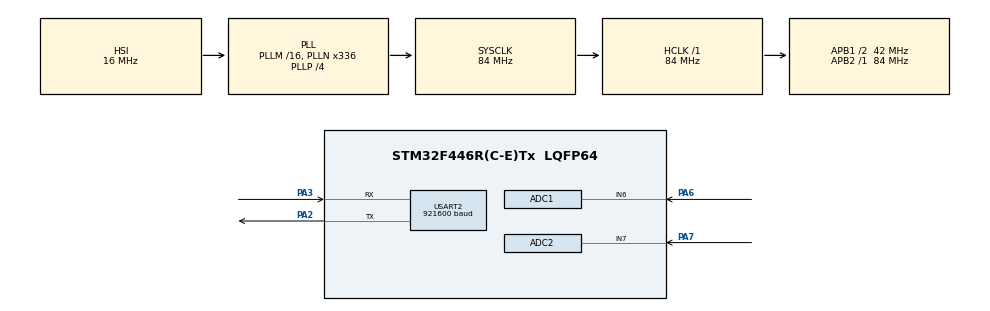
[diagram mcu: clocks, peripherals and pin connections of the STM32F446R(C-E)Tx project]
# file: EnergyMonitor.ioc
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ADC1.AutoInjectedConv=DISABLE
ADC1.Channel-0\#ChannelRegularConversion=ADC_CHANNEL_6
ADC1.ClockPrescaler=ADC_CLOCK_SYNC_PCLK_DIV4
ADC1.ContinuousConvMode=DISABLE
ADC1.DMAContinuousRequests=ENABLE
ADC1.DataAlign=ADC_DATAALIGN_RIGHT
ADC1.DiscontinuousConvMode=DISABLE
ADC1.EOCSelection=ADC_EOC_SEQ_CONV
ADC1.EnableAnalogWatchDog=false
ADC1.ExternalTrigConv=ADC_EXTERNALTRIGCONV_T8_TRGO
ADC1.ExternalTrigConvEdge=ADC_EXTERNALTRIGCONVEDGE_RISING
ADC1.InjectedDiscontinuousConvMode=DISABLE
ADC1.Mode=ADC_DUALMODE_REGSIMULT
ADC1.NbrOfConversion=1
ADC1.NbrOfConversionFlag=1
ADC1.Rank-0\#ChannelRegularConversion=1
ADC1.Resolution=ADC_RESOLUTION_12B
ADC1.SamplingTime-0\#ChannelRegularConversion=ADC_SAMPLETIME_3CYCLES
ADC1.ScanConvMode=DISABLE
ADC1.master=1
ADC2.AutoInjectedConv=DISABLE
ADC2.Channel-0\#ChannelRegularConversion=ADC_CHANNEL_7
ADC2.ClockPrescaler=ADC_CLOCK_SYNC_PCLK_DIV4
ADC2.ContinuousConvMode=DISABLE
ADC2.DMAContinuousRequests=ENABLE
ADC2.DataAlign=ADC_DATAALIGN_RIGHT
ADC2.DiscontinuousConvMode=DISABLE
ADC2.EOCSelection=ADC_EOC_SEQ_CONV
ADC2.EnableAnalogWatchDog=false
ADC2.InjectedDiscontinuousConvMode=DISABLE
ADC2.Mode=ADC_DUALMODE_REGSIMULT
ADC2.NbrOfConversion=1
ADC2.NbrOfConversionFlag=1
ADC2.Rank-0\#ChannelRegularConversion=1
ADC2.Resolution=ADC_RESOLUTION_12B
ADC2.SamplingTime-0\#ChannelRegularConversion=ADC_SAMPLETIME_3CYCLES
ADC2.ScanConvMode=DISABLE
Dma.ADC1.2.Direction=DMA_PERIPH_TO_MEMORY
Dma.ADC1.2.FIFOMode=DMA_FIFOMODE_ENABLE
Dma.ADC1.2.FIFOThreshold=DMA_FIFO_THRESHOLD_FULL
Dma.ADC1.2.Instance=DMA2_Stream0
Dma.ADC1.2.MemBurst=DMA_MBURST_SINGLE
Dma.ADC1.2.MemDataAlignment=DMA_MDATAALIGN_WORD
Dma.ADC1.2.MemInc=DMA_MINC_ENABLE
Dma.ADC1.2.Mode=DMA_CIRCULAR
Dma.ADC1.2.PeriphBurst=DMA_PBURST_SINGLE
Dma.ADC1.2.PeriphDataAlignment=DMA_PDATAALIGN_WORD
Dma.ADC1.2.PeriphInc=DMA_PINC_DISABLE
Dma.ADC1.2.Priority=DMA_PRIORITY_HIGH
Dma.ADC2.3.Direction=DMA_PERIPH_TO_MEMORY
Dma.ADC2.3.FIFOMode=DMA_FIFOMODE_ENABLE
Dma.ADC2.3.FIFOThreshold=DMA_FIFO_THRESHOLD_FULL
Dma.ADC2.3.Instance=DMA2_Stream2
Dma.ADC2.3.MemBurst=DMA_MBURST_SINGLE
Dma.ADC2.3.MemDataAlignment=DMA_MDATAALIGN_WORD
Dma.ADC2.3.MemInc=DMA_MINC_ENABLE
Dma.ADC2.3.Mode=DMA_CIRCULAR
Dma.ADC2.3.PeriphBurst=DMA_PBURST_SINGLE
Dma.ADC2.3.PeriphDataAlignment=DMA_PDATAALIGN_WORD
Dma.ADC2.3.PeriphInc=DMA_PINC_DISABLE
Dma.ADC2.3.Priority=DMA_PRIORITY_HIGH
Dma.MEMTOMEM.0.Direction=DMA_MEMORY_TO_MEMORY
Dma.MEMTOMEM.0.FIFOMode=DMA_FIFOMODE_ENABLE
Dma.MEMTOMEM.0.FIFOThreshold=DMA_FIFO_THRESHOLD_FULL
Dma.MEMTOMEM.0.Instance=DMA2_Stream1
Dma.MEMTOMEM.0.MemBurst=DMA_MBURST_SINGLE
Dma.MEMTOMEM.0.MemDataAlignment=DMA_MDATAALIGN_WORD
Dma.MEMTOMEM.0.MemInc=DMA_MINC_ENABLE
Dma.MEMTOMEM.0.Mode=DMA_NORMAL
Dma.MEMTOMEM.0.PeriphBurst=DMA_PBURST_SINGLE
Dma.MEMTOMEM.0.PeriphDataAlignment=DMA_PDATAALIGN_WORD
Dma.MEMTOMEM.0.PeriphInc=DMA_PINC_ENABLE
Dma.MEMTOMEM.0.Priority=DMA_PRIORITY_MEDIUM
Dma.MEMTOMEM.1.Direction=DMA_MEMORY_TO_MEMORY
Dma.MEMTOMEM.1.FIFOMode=DMA_FIFOMODE_ENABLE
Dma.MEMTOMEM.1.FIFOThreshold=DMA_FIFO_THRESHOLD_FULL
Dma.MEMTOMEM.1.Instance=DMA2_Stream3
Dma.MEMTOMEM.1.MemBurst=DMA_MBURST_SINGLE
Dma.MEMTOMEM.1.MemDataAlignment=DMA_MDATAALIGN_WORD
Dma.MEMTOMEM.1.MemInc=DMA_MINC_ENABLE
Dma.MEMTOMEM.1.Mode=DMA_NORMAL
Dma.MEMTOMEM.1.PeriphBurst=DMA_PBURST_SINGLE
Dma.MEMTOMEM.1.PeriphDataAlignment=DMA_PDATAALIGN_WORD
Dma.MEMTOMEM.1.PeriphInc=DMA_PINC_ENABLE
Dma.MEMTOMEM.1.Priority=DMA_PRIORITY_MEDIUM
Dma.Request0=MEMTOMEM
Dma.Request1=MEMTOMEM
Dma.Request2=ADC1
Dma.Request3=ADC2
Mcu.Family=STM32F4
Mcu.Name=STM32F446R(C-E)Tx
Mcu.Package=LQFP64
NVIC.ADC_IRQn=true\:0\:0\:false\:false\:true
NVIC.DMA2_Stream0_IRQn=true\:0\:0\:false\:false\:true
NVIC.DMA2_Stream1_IRQn=true\:0\:0\:false\:false\:true
NVIC.DMA2_Stream2_IRQn=true\:0\:0\:false\:false\:true
NVIC.DMA2_Stream3_IRQn=true\:0\:0\:false\:false\:true
NVIC.PriorityGroup=NVIC_PRIORITYGROUP_0
NVIC.USART2_IRQn=true\:0\:0\:false\:false\:true
PA2.Mode=Asynchronous
PA2.Signal=USART2_TX
PA3.Mode=Asynchronous
PA3.Signal=USART2_RX
PA6.Signal=ADCx_IN6
PA7.Signal=ADCx_IN7
ProjectManager.HeapSize=0x200
ProjectManager.StackSize=0x400
ProjectManager.TargetToolchain=SW4STM32
RCC.AHBFreq_Value=84000000
RCC.APB1CLKDivider=RCC_HCLK_DIV2
RCC.APB1Freq_Value=42000000
RCC.APB1TimFreq_Value=84000000
RCC.APB2Freq_Value=84000000
RCC.APB2TimFreq_Value=84000000
RCC.CECEnable=false
RCC.ClockTypeHCLK=RCC_CLOCKTYPE_HCLK
RCC.ClockTypePCLK1=RCC_CLOCKTYPE_PCLK1
RCC.ClockTypePCLK2=RCC_CLOCKTYPE_PCLK2
RCC.ClockTypeSysClk=RCC_CLOCKTYPE_SYSCLK
RCC.CortexFreq_Value=84000000
RCC.EnableFMPI2C1=false
RCC.EnableHSE=false
RCC.EnableHSERTCDevisor=false
RCC.EnableI2S1=false
RCC.EnableI2S2=false
RCC.EnableLSE=false
RCC.EnableLSERTC=false
RCC.EnableSAIA=false
RCC.EnableSAIB=false
RCC.EnableSDIO=false
RCC.EnableSPDIF=false
RCC.EnableUSB=false
RCC.EnbaleCSS=false
RCC.ExtClockEnable=false
RCC.FLatency-AdvancedSettings=FLASH_LATENCY_2
RCC.HCLKFreq_Value=84000000
RCC.HSEState=RCC_HSE_OFF
RCC.HSE_VALUE=8000000
RCC.HSIState=RCC_HSI_ON
RCC.HSI_VALUE=16000000
RCC.IWDGEnable=false
RCC.LSE_VALUE=32768
RCC.LSIState=RCC_LSI_OFF
RCC.MCO1OutPutEnable=false
RCC.MCO2OutPutEnable=false
RCC.OscillatorTypeHSI=RCC_OSCILLATORTYPE_HSI
RCC.PLLN=336
RCC.PLLP=RCC_PLLP_DIV4
RCC.PLLSource=RCC_PLLSOURCE_HSI
RCC.PLLSourceVirtual=RCC_PLLSOURCE_HSI
RCC.PLLState=RCC_PLL_ON
RCC.RCC_RTC_Clock_Source=RCC_RTCCLKSOURCE_LSI
RCC.RCC_RTC_Clock_SourceVirtual=RCC_RTCCLKSOURCE_LSI
RCC.RTCEnable=false
RCC.SYSCLKFreq_VALUE=84000000
RCC.SYSCLKSource=RCC_SYSCLKSOURCE_PLLCLK
RCC.USBFreq_Value=168000000
RCC.VCOOutputFreq_Value=336000000
SH.ADCx_IN6.0=ADC1_IN6,IN6
SH.ADCx_IN7.0=ADC2_IN7,IN7
TIM8.Period=7000
TIM8.TIM_MasterOutputTrigger=TIM_TRGO_UPDATE
USART2.BaudRate=921600
USART2.HwFlowCtl-Asynchronous=UART_HWCONTROL_NONE
USART2.VirtualMode=VM_ASYNC
VP_TIM8_VS_ClockSourceINT.Mode=Internal
board=NUCLEO-F446RE

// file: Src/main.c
/*
  ******************************************************************************
  * File Name          : main.c
  * Description        : Main program body
  ******************************************************************************
  *
  * COPYRIGHT(c) 2017 STMicroelectronics
  *
  * Redistribution and use in source and binary forms, with or without modification,
  * are permitted provided that the following conditions are met:
  *   1. Redistributions of source code must retain the above copyright notice,
  *      this list of conditions and the following disclaimer.
  *   2. Redistributions in binary form must reproduce the above copyright notice,
  *      this list of conditions and the following disclaimer in the documentation
  *      and/or other materials provided with the distribution.
  *   3. Neither the name of STMicroelectronics nor the names of its contributors
  *      may be used to endorse or promote products derived from this software
  *      without specific prior written permission.
  *
  * THIS SOFTWARE IS PROVIDED BY THE COPYRIGHT HOLDERS AND CONTRIBUTORS "AS IS"
  * AND ANY EXPRESS OR IMPLIED WARRANTIES, INCLUDING, BUT NOT LIMITED TO, THE
  * IMPLIED WARRANTIES OF MERCHANTABILITY AND FITNESS FOR A PARTICULAR PURPOSE ARE
  * DISCLAIMED. IN NO EVENT SHALL THE COPYRIGHT HOLDER OR CONTRIBUTORS BE LIABLE
  * FOR ANY DIRECT, INDIRECT, INCIDENTAL, SPECIAL, EXEMPLARY, OR CONSEQUENTIAL
  * DAMAGES (INCLUDING, BUT NOT LIMITED TO, PROCUREMENT OF SUBSTITUTE GOODS OR
  * SERVICES; LOSS OF USE, DATA, OR PROFITS; OR BUSINESS INTERRUPTION) HOWEVER
  * CAUSED AND ON ANY THEORY OF LIABILITY, WHETHER IN CONTRACT, STRICT LIABILITY,
  * OR TORT (INCLUDING NEGLIGENCE OR OTHERWISE) ARISING IN ANY WAY OUT OF THE USE
  * OF THIS SOFTWARE, EVEN IF ADVISED OF THE POSSIBILITY OF SUCH DAMAGE.
  *
  ******************************************************************************
  */
  /**
  *	@file main.c
  * @author André, Bruno, Gustado e Leonador
  * @brief Aplicação: Sistema de Monitoramento de Consumo de Energia.
  *
  */
#include "main.h"
#include "stm32f4xx_hal.h"
#include "adc.h"
#include "dma.h"
#include "tim.h"
#include "usart.h"
#include "gpio.h"

/* USER CODE BEGIN Includes */
/* Include bibliotecas do projeto */
#include "defines.h"
#include "arm_math.h"
#include "dizimacao.h"
#include "adc_util.h"
#include "equipamentos.h"
#include "calculos_eletricos.h"
#include "usart_util.h"
/* USER CODE END Includes */

/* USER CODE BEGIN PV */
/* Private variables ---------------------------------------------------------*/
/* Variavel de estado da FSM */
/**
  * @brief  Estados da máquina de estados da aplicação.
  */
enum FSM {START, AQUISICAO, PROCESSAMENTO, RMS_CORRENTE, CALCULOS, DELTA, ID, ENVIAR}
estado = START;
/* Historico de medicoes e indexador*/
/**
  * @brief  Vetor de #Medicao . Contém histórico de medições.
  */
Medicao memoria[MEM_SIZE];
/**
  * @brief  Índice do histórico de medições.
  */
uint32_t memoria_index = 0;
/* Base de dados de equipamentos */
/**
  * @brief  Base de dados de #Equipamento .
  */
Equipamento BaseDados[EQUIP_ARRAY_MAX];
/* Buffers usados ao longo do processamento */
/**
  * @brief  Buffer circular de leitura de tensão. Interrupções ocorrem quando está na metade ou cheio.
  */
uint32_t buffer_tensao_DMA[2*BUFFER_SIZE];
/**
  * @brief  Buffer circular de leitura de corrente. Interrupções ocorrem quando está na metade ou cheio.
  */
uint32_t buffer_corrente_DMA[2*BUFFER_SIZE];
/**
  * @brief  Buffer auxiliar de leitura de tensão.
  */
uint32_t buffer_tensao_leitura[BUFFER_SIZE];
/**
  * @brief  Buffer auxiliar de leitura de corrente.
  */
uint32_t buffer_corrente_leitura[BUFFER_SIZE];
/**
  * @brief  Buffer auxiliar de leitura de tensão em ponto flutuante.
  */
float32_t buffer_corrente_float[BUFFER_SIZE];
/**
  * @brief  Buffer auxiliar de leitura de corrente em ponto flutuante.
  */
float32_t buffer_tensao_float[BUFFER_SIZE];
/**
  * @brief  Buffer auxiliar de leitura de tensão em ponto flutuante dizimado.
  */
float32_t buffer_tensao_diz[BUFFER_DIZ];
/**
  * @brief  Buffer auxiliar de leitura de corrente em ponto flutuante dizimado.
  */
float32_t buffer_corrente_diz[BUFFER_DIZ];
/* Flags de controle */
/**
  * @brief  Variável de testes.
  */
uint32_t count = 0;
/**
  * @brief  Variável de testes.
  */
uint32_t tic, toc;
/**
  * @brief  Flag de controle. Ativada quando ocorre interrupção de buffer cheio.
  */
uint8_t flag_buffercheio = 0;
/**
  * @brief  Flag de controle. Ativada quando ocorre interrupção de buffer na metade.
  */
uint8_t flag_buffermetade = 0;
/**
  * @brief  Flag de testes.
  */
uint8_t flag_aquisicao = 0;
/* Filtro FIR + dizimacao */
/**
  * @brief  Estrutura da biblioteca CMSIS para realização da dizimação.
  */
arm_fir_decimate_instance_f32 S;
/* USER CODE END PV */

/**
  * @brief  Configuração de clock.
  */
void SystemClock_Config(void);
void Error_Handler(void);

/* USER CODE BEGIN PFP */
/* Private function prototypes -----------------------------------------------*/
/* Callbacks das interrupcoes do ADC-DMA */
/**
  * @brief  Callback da interrupção de transferência completa da DMA.
  * @param	hadc: Handler para ADC.
  */
void HAL_ADC_ConvCpltCallback(ADC_HandleTypeDef *);
/**
  * @brief  Callback da interrupção de transferência na metade da DMA.
  * @param	hadc: Handler para ADC.
  */
void HAL_ADC_ConvHalfCpltCallback(ADC_HandleTypeDef *);
/* USER CODE END PFP */

/**
  * @brief  Main da aplicação.
  *
  *	Implementa a máquina de estados descrita no relatório 3.
  *
  */
int main(void)
{

  /* USER CODE BEGIN 1 */
  /* Variaveis locais */
	float32_t corrente_RMS = 0;
	float32_t corrente_RMS_anterior = 0;
	uint32_t i = 0;
	uint32_t timestamp = 0;
	uint32_t timestamp_anterior = 0;
	float32_t energia = 0;
	Parametros param_aux, param_delta;
	int32_t float_inteiro;
	int32_t float_fracao;
	char new_equip;
	int add_new_equip;
  /* USER CODE END 1 */

  /* MCU Configuration----------------------------------------------------------*/

  /* Reset of all peripherals, Initializes the Flash interface and the Systick. */
  HAL_Init();

  /* Configure the system clock */
  SystemClock_Config();

  /* Initialize all configured peripherals */
  MX_GPIO_Init();
  MX_DMA_Init();
  MX_ADC1_Init();
  MX_ADC2_Init();
  MX_USART2_UART_Init();
  MX_TIM8_Init();

  /* USER CODE BEGIN 2 */

  /* Inicializar memoria com zeros */
  for (i=0; i<MEM_SIZE; i++)
  {
	  InitMedicao(&(memoria[i]));
  }
  /* Inicializar Base de Dados */
  InitBaseDeDados(BaseDados);

  print("%d\n\r",BaseDados[1].ID);
  print("%d\n\r",BaseDados[2].ID);
  print("%d\n\r",BaseDados[3].ID);
  print("%d\n\r",BaseDados[4].ID);
  print("%d\n\r",BaseDados[5].ID);
  print("%d\n\r",BaseDados[6].ID);
  print("%d\n\r",BaseDados[7].ID);
  print("%d\n\r",BaseDados[8].ID);

  /* Inicializar filtro FIR */
  initializeFIR(&S);
  /* Inicializar Timer 8 */
  HAL_TIM_Base_Start(&htim8);
  /* Inicializar ADCs */
  HAL_ADC_Start(&hadc2);
  HAL_ADC_Start_DMA(&hadc1, buffer_tensao_DMA, 2*BUFFER_SIZE);
  HAL_ADC_Start_DMA(&hadc2, buffer_corrente_DMA, 2*BUFFER_SIZE);

  /* USER CODE END 2 */

  /* Infinite loop */
  while (1)
  {

  /* USER CODE BEGIN 3 */
	  switch(estado){
	  case START:
		  /*
		   * Estado: START
		   * Descricao: Estado inicial da FSM
		   * Proximo estado: AQUISICAO
		   * Transicao: sempre
		   */
		  estado = AQUISICAO;
		  break;

	  case AQUISICAO:
		  /*
		   * Estado: AQUISICAO
		   * Descricao: Espera pela aquisicao de dados pelo ADC
		   * Proximo estado: PROCESSAMENTO
		   * Transicao: transferencia do buffer do ADC iniciada
		   */

		  /* Manter estado em AQUISICAO*/
		  estado = AQUISICAO;

		  if (flag_buffercheio == 1){
			  /* Timestamp da medicao */
			  timestamp_anterior = timestamp;
			  timestamp = HAL_GetTick();

			  /* Transferir dados do buffer da DMA para buffer de leitura e esperar transferencia*/
			  HAL_DMA_Start(&hdma_memtomem_dma2_stream3, (uint32_t) (buffer_corrente_DMA+BUFFER_SIZE), (uint32_t) buffer_corrente_leitura,BUFFER_SIZE);
			  HAL_DMA_Start(&hdma_memtomem_dma2_stream1, (uint32_t) (buffer_tensao_DMA+BUFFER_SIZE), (uint32_t) buffer_tensao_leitura,BUFFER_SIZE);
			  /* Setar flag */
			  estado = PROCESSAMENTO;
		  }

		  if (flag_buffermetade == 1){
			  /* Timestamp da medicao */
			  timestamp_anterior = timestamp;
			  timestamp = HAL_GetTick();

			  /* Transferir dados do buffer da DMA para buffer de leitura e esperar transferencia*/
			  HAL_DMA_Start(&hdma_memtomem_dma2_stream3, (uint32_t) buffer_corrente_DMA, (uint32_t) buffer_corrente_leitura, BUFFER_SIZE);
			  HAL_DMA_Start(&hdma_memtomem_dma2_stream1, (uint32_t) buffer_tensao_DMA, (uint32_t) buffer_tensao_leitura, BUFFER_SIZE);
			  /* Setar flag */
			  estado = PROCESSAMENTO;
		  }
		  break;

	  case PROCESSAMENTO:
		  /*
		   * Estado: PROCESSAMENTO
		   * Descricao: Transforma leitura do ADC em valores do mundo real e dizima sinal
		   * Proximo estado: RMS_CORRENTE
		   * Transicao: Conversão completa
		   */

		  HAL_DMA_PollForTransfer(&hdma_memtomem_dma2_stream3, HAL_DMA_FULL_TRANSFER, HAL_MAX_DELAY);
		  /* Converter valor do ADC 0-4095 para float32_t */
		  ADCConvertBuffer(buffer_corrente_leitura, buffer_corrente_float, BUFFER_SIZE, CORRENTE_A, CORRENTE_B);
		  /* Filtro FIR  e Dizimacao da corrente*/
		  initializeFIR(&S);
		  arm_fir_decimate_f32(&S, buffer_corrente_float, buffer_corrente_diz, BUFFER_SIZE);

		  HAL_DMA_PollForTransfer(&hdma_memtomem_dma2_stream1, HAL_DMA_FULL_TRANSFER, HAL_MAX_DELAY);

		  /* Converter valor do ADC 0-4095 para float32_t */
		  ADCConvertBuffer(buffer_tensao_leitura, buffer_tensao_float, BUFFER_SIZE, TENSAO_A, TENSAO_B);
		  /* Filtro FIR e Dizimacao da tensao */
		  initializeFIR(&S);
		  arm_fir_decimate_f32(&S, buffer_tensao_float, buffer_tensao_diz, BUFFER_SIZE);

		  estado = RMS_CORRENTE;

		  // enviar valor pela UART - DEBUG
		  for(i=0; i<BUFFER_SIZE; i++)
		  {
			  // print valor leitura adc
			  /*USART2_Transmit_UInt(buffer_tensao_leitura[i]);
			  USART2_Transmit_Char(',');
			  USART2_Transmit_UInt(buffer_corrente_leitura[i]);
			  USART2_Transmit_String("\n\r");*/

			  // print valor real antes de dizimacao (mA e V)
			  float_inteiro = (int32_t) (1000*buffer_corrente_float[i]);
			  USART2_Transmit_Int(float_inteiro);
			  //float_fracao = abs((int32_t)(buffer_corrente_float[i]*1000)%1000);
			  //USART2_Transmit_Char('.');
			  //USART2_Transmit_Int(float_fracao);
			  USART2_Transmit_Char(',');
			  float_inteiro = (int32_t) (buffer_tensao_float[i]);
			  USART2_Transmit_Int(float_inteiro);
			  float_fracao = abs((int32_t)(buffer_tensao_float[i]*1000)%1000);
			  USART2_Transmit_Char('.');
			  USART2_Transmit_UInt(float_fracao);
			  USART2_Transmit_String("\n\r");
		  }

		  for(i=0; i<BUFFER_DIZ; i++)
		  {

			  // print valor real depois da dizimacao (mA e V)
			  /*float_inteiro = (int32_t) (1000*buffer_corrente_diz[i]);
			  USART2_Transmit_Int(float_inteiro);
			  //float_fracao = abs((int32_t)(buffer_corrente_diz[i]*1000)%1000);
			  //USART2_Trans 	mit_Char('.');
			  //USART2_Transmit_Int(float_fracao);
			  USART2_Transmit_Char(',');
			  float_inteiro = (int32_t) (buffer_tensao_diz[i]);
			  USART2_Transmit_Int(float_inteiro);
			  float_fracao = abs((int32_t)(buffer_tensao_diz[i]*1000)%1000);
			  USART2_Transmit_Char('.');
			  USART2_Transmit_UInt(float_fracao);
			  USART2_Transmit_String("\n\r");*/
		  }
		  HAL_Delay(100);
		  break;

	  case RMS_CORRENTE:
		  /*
		   * Estado: RMS_CORRENTE
		   * Descricao: Medir valor RMS da corrente e verificar se houve alguma alteracao
		   * Proximo estado: AQUISICAO
		   * Transicao: Valor RMS da corrente e proximo a ultima medicao
		   * Proximo estado: CALCULOS
		   * Transicao: Valor RMS da corrente esta fora da faixa da ultima medicao
		   */

		  /* Calcular RMS da corrente sobre a aquisicao */
		  corrente_RMS = retornaRMS(GI, buffer_corrente_diz, BUFFER_DIZ, N_START);

		  // print valor RMS lido
		  //float_inteiro = (int32_t) (1000*corrente_RMS);
		  //print("RMS Lido: %d\n\r", float_inteiro);

		  /* Ler ultimo valor de RMS do historico*/
		  corrente_RMS_anterior = memoria[memoria_index%MEM_SIZE].med.i_rms;

		  energia = energia + memoria[memoria_index%MEM_SIZE].med.v_rms*corrente_RMS*memoria[memoria_index%MEM_SIZE].med.pf*((float32_t)(timestamp-timestamp_anterior))*MS2H;

		  //print valor RMS lido
		  //float_inteiro = (int32_t) (1000*corrente_RMS_anterior);
		  //print("RMS Anterior: %d\n\r", float_inteiro);

		  /* Verificar se novo valor de RMS esta dentro ou fora de uma faixa */
		  if ((corrente_RMS < (RMS_LOWERBOUND*corrente_RMS_anterior)) || (corrente_RMS > (RMS_UPPERBOUND*corrente_RMS_anterior))) {
			  estado = CALCULOS;
			  // print valor RMS lido
			  //float_inteiro = (int32_t) (1000*corrente_RMS);
			  //print("RMS Lido: %d\n\r", float_inteiro);
			  //print("Proximo estado: CALCULOS\n\r");
		  }
		  else {
			  estado = AQUISICAO;
			  //print("Proximo estado: AQUISICAO\n\r");
		  }
		  break;

	  case CALCULOS:
		  /*
		   * Estado: CALCULOS
		   * Descricao: Realiza calculos de potencia e harmonicas do intervalor
		   * Proximo estado: DELTA
		   * Transicao: Calculos completos
		   */
		  /* Calcular parametros eletricos obtidos*/

		  param_aux.i_rms = corrente_RMS;
		  float_inteiro = (int32_t) (1000*param_aux.i_rms);
		  //print("I RMS: %d\n\r", float_inteiro);
		  param_aux.v_rms = retornaRMS(GI, buffer_tensao_diz, BUFFER_DIZ, N_START);
		  float_inteiro = (int32_t) (param_aux.v_rms);
		  //print("V RMS: %d\n\r", float_inteiro);
		  param_aux.pot_at = retornaPOTATIVA(GV, GI, buffer_tensao_diz, buffer_corrente_diz, BUFFER_DIZ, N_START);
		  float_inteiro = (int32_t) (param_aux.pot_at);
		  //print("Potencia Ativa: %d\n\r", float_inteiro);
		  param_aux.pot_ap = retornaPOTAPARENTE(GV, GI, param_aux.v_rms, param_aux.i_rms);
		  float_inteiro = (int32_t) (param_aux.pot_ap);
		  //print("Potencia Aparente: %d\n\r", float_inteiro);
		  param_aux.pot_re = retornaPOTREATIVA(param_aux.pot_ap, param_aux.pot_at);
		  float_inteiro = (int32_t) (param_aux.pot_re);
		  //print("Potencia Reativa: %d\n\r", float_inteiro);
		  param_aux.pf = retornaFP(param_aux.pot_ap, param_aux.pot_at);
		  float_inteiro = (int32_t) (1000*param_aux.pf);
		  //print("Fator de Potencia: %d\n\r", float_inteiro);
		  param_aux.harmonicos_RMS[0]=1;
		  retornaRMSHARMONICOS(param_aux.harmonicos_RMS, buffer_corrente_diz, BUFFER_DIZ, MAX_HARMONICA, GI, N_PERIODOS, N_START);
		  for(i=0; i<MAX_HARMONICA; i++)
		  {
			  //print("Harmonica %d: %d\n\r",i,(int32_t)(1000*param_aux.harmonicos_RMS[i]));
		  }
		  param_aux.thd = retornaTHD(param_aux.harmonicos_RMS);
		  float_inteiro = (int32_t) (1000*param_aux.thd);
		  //print("THD: %d\n\r", float_inteiro);
		  float_inteiro = (int32_t) (1000000*energia);
		  //print("Energia Total: %d\n\r\r", float_inteiro);

		  estado = DELTA;
		  break;

	  case DELTA:
		  /*
		   * Estado: DELTA
		   * Descricao: Compara resultado dos calculos obtidos com os da ultima medicao
		   * Proximo estado: ID
		   * Transicao: Delta obtido
		   */
		  /* Obter delta entre medicao atual e medicao anterior */
		  DeltaParam(&param_aux, &(memoria[memoria_index%MEM_SIZE]), &param_delta, &new_equip);

		  /*float_inteiro = (int32_t) (1000*param_delta.i_rms);
		  print("I RMS: %d\n\r", float_inteiro);
		  float_inteiro = (int32_t) (param_delta.v_rms);
		  print("V RMS: %d\n\r", float_inteiro);
		  float_inteiro = (int32_t) (param_delta.pot_at);
		  print("Potencia Ativa: %d\n\r", float_inteiro);
		  float_inteiro = (int32_t) (param_delta.pot_ap);
		  print("Potencia Aparente: %d\n\r", float_inteiro);
		  float_inteiro = (int32_t) (param_delta.pot_re);
		  print("Potencia Reativa: %d\n\r", float_inteiro);
		  float_inteiro = (int32_t) (1000*param_delta.pf);
		  print("Fator de Potencia: %d\n\r", float_inteiro);
		  for(i=0; i<MAX_HARMONICA; i++)
		  {
			  print("Harmonica %d: %d\n\r",i,(int32_t)(1000*param_delta.harmonicos_RMS[i]));
		  }
		  float_inteiro = (int32_t) (1000*param_delta.thd);
		  print("THD: %d\n\r", float_inteiro);*/

		  estado = ID;
		  break;

	  case ID:
		  /*
		   * Estado: ID
		   * Descricao: Identificacao dos equipamentos na rede e associacao com a medicao
		   * Proximo estado: ENVIAR
		   * Transicao: Identificacao completa
		   */
		  /* Identificar o delta de medicoes com base de dados de equipamentos */
		  add_new_equip = IdentificarEquipamento(BaseDados, &param_delta);

		  /* Entrar como novo dado na memoria */
		  memoria_index = (memoria_index+1)%MEM_SIZE;
		  for(i=0; i<EQUIP_ARRAY_MAX; i++) {
			  memoria[memoria_index%MEM_SIZE].equipamentos[i] = memoria[(memoria_index-1)%MEM_SIZE].equipamentos[i];
		  }

		  /* Atualizar vetor de equipamentos com nova entrada */
		  if(add_new_equip != -1)
		  {
			  if (new_equip == 1)
			  {
				  memoria[memoria_index%MEM_SIZE].equipamentos[add_new_equip]++;
			  }
			  else
			  {
				  memoria[memoria_index%MEM_SIZE].equipamentos[add_new_equip]--;
			  }
		  }

		  /* Entrar como o restante de dados na memoria */
		  memoria[memoria_index%MEM_SIZE].med.i_rms = param_aux.i_rms;
		  memoria[memoria_index%MEM_SIZE].med.v_rms = param_aux.v_rms;
		  memoria[memoria_index%MEM_SIZE].med.pot_ap = param_aux.pot_ap;
		  memoria[memoria_index%MEM_SIZE].med.pot_at = param_aux.pot_at;
		  memoria[memoria_index%MEM_SIZE].med.pot_re = param_aux.pot_re;
		  memoria[memoria_index%MEM_SIZE].med.thd = param_aux.thd;
		  memoria[memoria_index%MEM_SIZE].med.pf = param_aux.pf;
		  for(i=0; i<MAX_HARMONICA; i++) {
			  memoria[memoria_index%MEM_SIZE].med.harmonicos_RMS[i] = param_aux.harmonicos_RMS[i];
		  }
		  memoria[memoria_index%MEM_SIZE].timestamp = timestamp;

		  // Adicionar struct de medicoes (antes do delta) a memoria de medicoes em {memoria_index%MEM_SIZE}
		  estado = ENVIAR;
		  break;

	  case ENVIAR:
		  /*
		   * Estado: ENVIAR
		   * Descricao: Enviar nova entrada na tabela pela UART (conectada a um PC ou ao ESP8266)
		   * Proximo estado: AQUISICAO
		   * Transicao: Envio completo
		   */
		  /* Enviar nova medicao pela UART*/
		  //print("Timestamp: %d\n\r", memoria[memoria_index%MEM_SIZE].timestamp);
		  float_inteiro = (int32_t) (1000*memoria[memoria_index%MEM_SIZE].med.i_rms);
		  //print("I RMS: %d\n\r", float_inteiro);
		  float_inteiro = (int32_t) (memoria[memoria_index%MEM_SIZE].med.v_rms);
		  //print("V RMS: %d\n\r", float_inteiro);
		  float_inteiro = (int32_t) (memoria[memoria_index%MEM_SIZE].med.pot_at);
		  //print("Potencia Ativa: %d\n\r", float_inteiro);
		  float_inteiro = (int32_t) (memoria[memoria_index%MEM_SIZE].med.pot_ap);
		  //print("Potencia Aparente: %d\n\r", float_inteiro);
		  float_inteiro = (int32_t) (memoria[memoria_index%MEM_SIZE].med.pot_re);
		  //print("Potencia Reativa: %d\n\r", float_inteiro);
		  float_inteiro = (int32_t) (1000*memoria[memoria_index%MEM_SIZE].med.pf);
		  //print("Fator de Potencia: %d\n\r", float_inteiro);
		  for(i=0; i<MAX_HARMONICA; i++)
		  {
			  //print("Harmonica %d: %d\n\r",i,(int32_t)(1000*memoria[memoria_index%MEM_SIZE].med.harmonicos_RMS[i]));
		  }
		  float_inteiro = (int32_t) (1000*memoria[memoria_index%MEM_SIZE].med.thd);
		  //print("THD: %d\n\r", float_inteiro);
		  for(i=0; i<EQUIP_ARRAY_MAX; i++) {
			  //print("Equipamento %d: %d\n\r", i, memoria[memoria_index%MEM_SIZE].equipamentos[i]);
		  }

		  // chamar funcao de envio usando {memoria_index%MEM_SIZE}
		  estado = AQUISICAO;
		  break;

	  default:
		  /*
		   * Estado: DEFAULT
		   * Proximo estado: START
		   * Transicao: sempre
		   */
		  estado = START;
		  break;
	  }
  }
  /* USER CODE END 3 */

}

/** System Clock Configuration
*/
void SystemClock_Config(void)
{

  RCC_OscInitTypeDef RCC_OscInitStruct;
  RCC_ClkInitTypeDef RCC_ClkInitStruct;

    /**Configure the main internal regulator output voltage
    */
  __HAL_RCC_PWR_CLK_ENABLE();

  __HAL_PWR_VOLTAGESCALING_CONFIG(PWR_REGULATOR_VOLTAGE_SCALE3);

    /**Initializes the CPU, AHB and APB busses clocks
    */
  RCC_OscInitStruct.OscillatorType = RCC_OSCILLATORTYPE_HSI;
  RCC_OscInitStruct.HSIState = RCC_HSI_ON;
  RCC_OscInitStruct.HSICalibrationValue = 16;
  RCC_OscInitStruct.PLL.PLLState = RCC_PLL_ON;
  RCC_OscInitStruct.PLL.PLLSource = RCC_PLLSOURCE_HSI;
  RCC_OscInitStruct.PLL.PLLM = 16;
  RCC_OscInitStruct.PLL.PLLN = 336;
  RCC_OscInitStruct.PLL.PLLP = RCC_PLLP_DIV4;
  RCC_OscInitStruct.PLL.PLLQ = 2;
  RCC_OscInitStruct.PLL.PLLR = 2;
  if (HAL_RCC_OscConfig(&RCC_OscInitStruct) != HAL_OK)
  {
    Error_Handler();
  }

    /**Initializes the CPU, AHB and APB busses clocks
    */
  RCC_ClkInitStruct.ClockType = RCC_CLOCKTYPE_HCLK|RCC_CLOCKTYPE_SYSCLK
                              |RCC_CLOCKTYPE_PCLK1|RCC_CLOCKTYPE_PCLK2;
  RCC_ClkInitStruct.SYSCLKSource = RCC_SYSCLKSOURCE_PLLCLK;
  RCC_ClkInitStruct.AHBCLKDivider = RCC_SYSCLK_DIV1;
  RCC_ClkInitStruct.APB1CLKDivider = RCC_HCLK_DIV2;
  RCC_ClkInitStruct.APB2CLKDivider = RCC_HCLK_DIV1;

  if (HAL_RCC_ClockConfig(&RCC_ClkInitStruct, FLASH_LATENCY_2) != HAL_OK)
  {
    Error_Handler();
  }

    /**Configure the Systick interrupt time
    */
  HAL_SYSTICK_Config(HAL_RCC_GetHCLKFreq()/1000);

    /**Configure the Systick
    */
  HAL_SYSTICK_CLKSourceConfig(SYSTICK_CLKSOURCE_HCLK);

  /* SysTick_IRQn interrupt configuration */
  HAL_NVIC_SetPriority(SysTick_IRQn, 0, 0);
}

/* USER CODE BEGIN 4 */
/*
 * Funcao: void HAL_ADC_ConvCpltCallback(ADC_HandleTypeDef *hadc)
 * @param hadc ponteiro para estrutura de controle de ADC
 * @retval void
 * @brief Callback de transferencia completa da DMA-ADC
 */
 /**
  * @brief  Callback da interrupção de transferência completa da DMA.
  * @param	hadc: Handler para ADC.
  */
void HAL_ADC_ConvCpltCallback(ADC_HandleTypeDef *hadc)
{
	/* Verificar ADC1 (mestre) e ativar flag */
	if (hadc->Instance == ADC1) {
		flag_buffercheio = 1;
		flag_buffermetade = 0;
		/*count++;
		if (count==10) {tic = HAL_GetTick();}
		if (count==20) {
			toc = HAL_GetTick();
			print("Tempo: %d\n\r", toc-tic);
			count = 0;
		}*/

	}
}

/*
 * Funcao: void HAL_ADC_ConvHalfCpltCallback(ADC_HandleTypeDef *hadc)
 * @param hadc ponteiro para estrutura de controle de ADC
 * @retval void
 * @brief Callback de transferencia pela meta da DMA-ADC
 */
 /**
  * @brief  Callback da interrupção de transferência na metade da DMA.
  * @param	hadc: Handler para ADC.
  */
void HAL_ADC_ConvHalfCpltCallback(ADC_HandleTypeDef *hadc)
{
	/* Verificar ADC1 (mestre) e ativar flag */
	if (hadc->Instance == ADC1) {
		flag_buffermetade = 1;
		flag_buffercheio = 0;
	}
}
/* USER CODE END 4 */

void Error_Handler(void)
{
  while(1)
  {
  }
}

/************************ (C) COPYRIGHT STMicroelectronics *****END OF FILE****/
